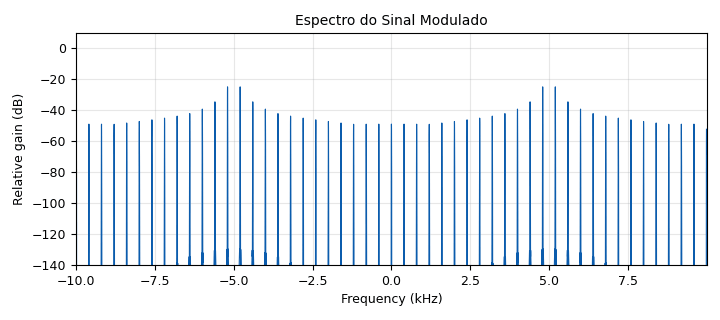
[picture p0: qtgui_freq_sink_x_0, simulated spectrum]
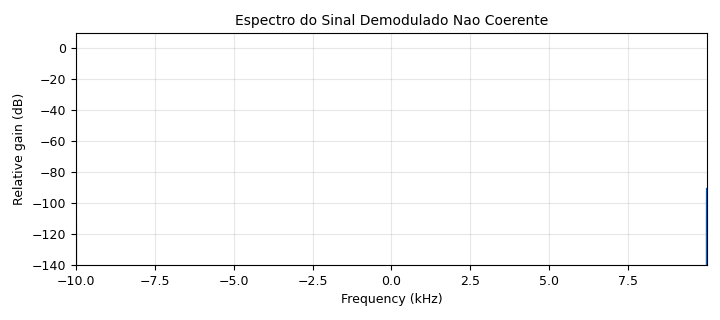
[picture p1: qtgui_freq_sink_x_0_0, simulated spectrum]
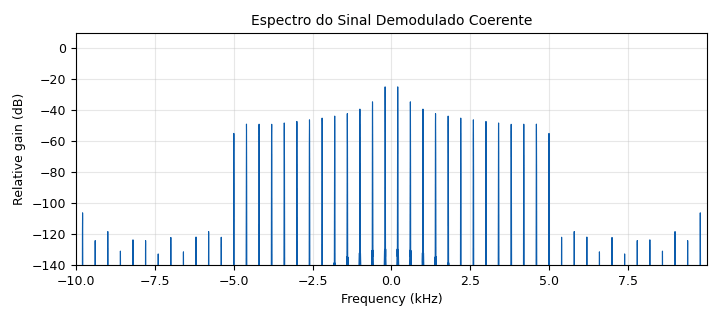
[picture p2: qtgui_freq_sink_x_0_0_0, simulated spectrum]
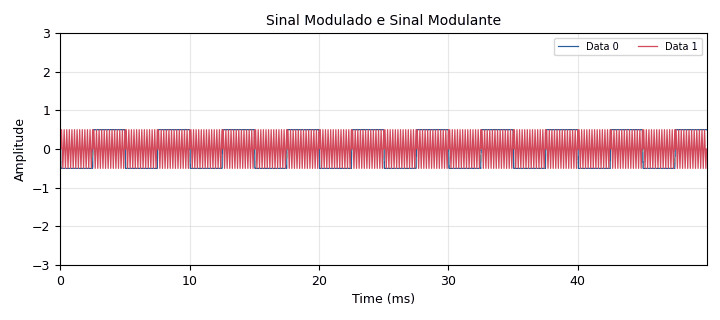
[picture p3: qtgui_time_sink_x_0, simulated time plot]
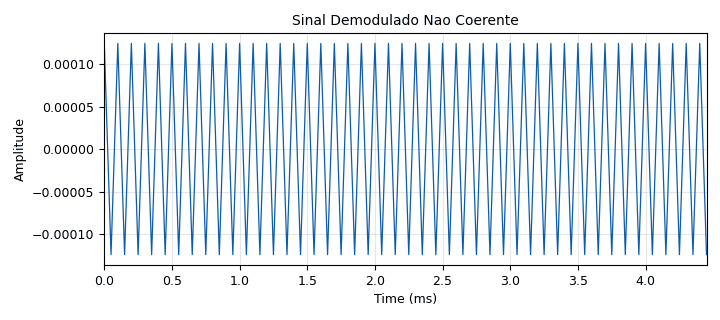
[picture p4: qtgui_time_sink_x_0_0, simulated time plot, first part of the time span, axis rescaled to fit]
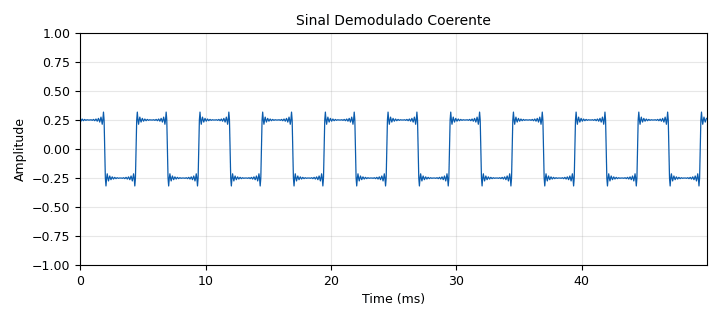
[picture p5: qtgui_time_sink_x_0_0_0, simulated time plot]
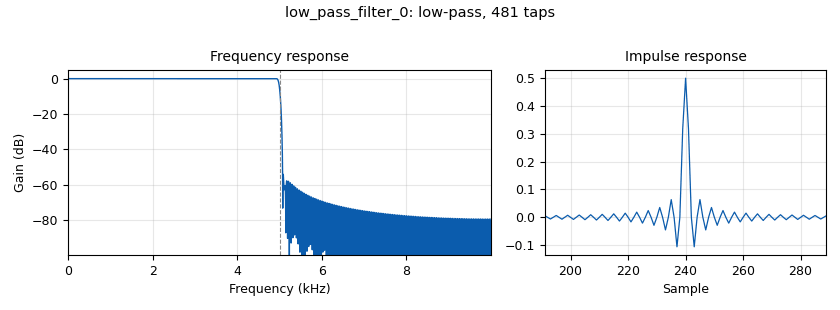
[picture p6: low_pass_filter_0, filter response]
<?xml version='1.0' encoding='utf-8'?>
<flow_graph>
<block>
<key>options</key>
<param><key>id</key><value>Labo3_1d</value></param>
<param><key>title</key><value>AM simulado</value></param>
<param><key>generate_options</key><value>qt_gui</value></param>
<param><key>category</key><value>Custom</value></param>
</block>
<block>
<key>variable</key>
<param><key>id</key><value>samp_rate</value></param>
<param><key>value</key><value>20000</value></param>
</block>
<block>
<key>variable_qtgui_range</key>
<param><key>id</key><value>A</value></param>
<param><key>label</key><value>Portadora</value></param>
<param><key>value</key><value>0</value></param>
<param><key>start</key><value>-3</value></param>
<param><key>stop</key><value>3</value></param>
<param><key>step</key><value>0.1</value></param>
<param><key>orient</key><value>Qt.Horizontal</value></param>
</block>
<block>
<key>analog_const_source_x</key>
<param><key>id</key><value>Amplitude_Portadora</value></param>
<param><key>type</key><value>float</value></param>
<param><key>const</key><value>A</value></param>
</block>
<block>
<key>analog_sig_source_x</key>
<param><key>id</key><value>Portadora</value></param>
<param><key>type</key><value>float</value></param>
<param><key>samp_rate</key><value>samp_rate</value></param>
<param><key>waveform</key><value>analog.GR_COS_WAVE</value></param>
<param><key>freq</key><value>5000</value></param>
<param><key>amp</key><value>1</value></param>
<param><key>offset</key><value>0</value></param>
</block>
<block>
<key>analog_sig_source_x</key>
<param><key>id</key><value>Portadora_0</value></param>
<param><key>type</key><value>float</value></param>
<param><key>samp_rate</key><value>samp_rate</value></param>
<param><key>waveform</key><value>analog.GR_COS_WAVE</value></param>
<param><key>freq</key><value>5000</value></param>
<param><key>amp</key><value>1</value></param>
<param><key>offset</key><value>0</value></param>
</block>
<block>
<key>analog_am_demod_cf</key>
<param><key>id</key><value>analog_am_demod_cf_0</value></param>
<param><key>chan_rate</key><value>samp_rate</value></param>
<param><key>audio_decim</key><value>1</value></param>
<param><key>audio_pass</key><value>5000</value></param>
<param><key>audio_stop</key><value>5500</value></param>
</block>
<block>
<key>blocks_add_xx</key>
<param><key>id</key><value>blocks_add_xx_0</value></param>
<param><key>type</key><value>float</value></param>
</block>
<block>
<key>blocks_delay</key>
<param><key>id</key><value>blocks_delay_0</value></param>
<param><key>type</key><value>float</value></param>
<param><key>delay</key><value>0</value></param>
</block>
<block>
<key>blocks_float_to_complex</key>
<param><key>id</key><value>blocks_float_to_complex_0</value></param>
</block>
<block>
<key>blocks_multiply_xx</key>
<param><key>id</key><value>blocks_multiply_xx_0</value></param>
<param><key>type</key><value>float</value></param>
</block>
<block>
<key>blocks_multiply_xx</key>
<param><key>id</key><value>blocks_multiply_xx_0_0</value></param>
<param><key>type</key><value>float</value></param>
</block>
<block>
<key>blocks_throttle</key>
<param><key>id</key><value>blocks_throttle_0</value></param>
<param><key>type</key><value>float</value></param>
<param><key>samples_per_second</key><value>samp_rate</value></param>
</block>
<block>
<key>dc_blocker_xx</key>
<param><key>id</key><value>dc_blocker_xx_0_0</value></param>
<param><key>type</key><value>ff</value></param>
<param><key>length</key><value>600</value></param>
<param><key>long_form</key><value>True</value></param>
</block>
<block>
<key>dc_blocker_xx</key>
<param><key>id</key><value>dc_blocker_xx_0_0_0</value></param>
<param><key>type</key><value>ff</value></param>
<param><key>length</key><value>600</value></param>
<param><key>long_form</key><value>True</value></param>
</block>
<block>
<key>low_pass_filter</key>
<param><key>id</key><value>low_pass_filter_0</value></param>
<param><key>type</key><value>fir_filter_fff</value></param>
<param><key>decim</key><value>1</value></param>
<param><key>gain</key><value>1</value></param>
<param><key>samp_rate</key><value>samp_rate</value></param>
<param><key>cutoff_freq</key><value>5000</value></param>
<param><key>width</key><value>100</value></param>
<param><key>win</key><value>firdes.WIN_HAMMING</value></param>
</block>
<block>
<key>qtgui_freq_sink_x</key>
<param><key>id</key><value>qtgui_freq_sink_x_0</value></param>
<param><key>type</key><value>float</value></param>
<param><key>name</key><value>Espectro do Sinal Modulado</value></param>
<param><key>fftsize</key><value>2**13</value></param>
<param><key>wintype</key><value>firdes.WIN_BLACKMAN_hARRIS</value></param>
<param><key>fc</key><value>0</value></param>
<param><key>bw</key><value>samp_rate</value></param>
</block>
<block>
<key>qtgui_freq_sink_x</key>
<param><key>id</key><value>qtgui_freq_sink_x_0_0</value></param>
<param><key>type</key><value>float</value></param>
<param><key>name</key><value>Espectro do Sinal Demodulado Nao Coerente</value></param>
<param><key>fftsize</key><value>2**13</value></param>
<param><key>wintype</key><value>firdes.WIN_BLACKMAN_hARRIS</value></param>
<param><key>fc</key><value>0</value></param>
<param><key>bw</key><value>samp_rate</value></param>
</block>
<block>
<key>qtgui_freq_sink_x</key>
<param><key>id</key><value>qtgui_freq_sink_x_0_0_0</value></param>
<param><key>type</key><value>float</value></param>
<param><key>name</key><value>Espectro do Sinal Demodulado Coerente</value></param>
<param><key>fftsize</key><value>2**13</value></param>
<param><key>wintype</key><value>firdes.WIN_BLACKMAN_hARRIS</value></param>
<param><key>fc</key><value>0</value></param>
<param><key>bw</key><value>samp_rate</value></param>
</block>
<block>
<key>qtgui_time_sink_x</key>
<param><key>id</key><value>qtgui_time_sink_x_0</value></param>
<param><key>type</key><value>float</value></param>
<param><key>name</key><value>Sinal Modulado e Sinal Modulante</value></param>
<param><key>size</key><value>1000</value></param>
<param><key>srate</key><value>samp_rate</value></param>
<param><key>ymin</key><value>-3</value></param>
<param><key>ymax</key><value>3</value></param>
<param><key>nconnections</key><value>2</value></param>
<param><key>tr_level</key><value>1</value></param>
</block>
<block>
<key>qtgui_time_sink_x</key>
<param><key>id</key><value>qtgui_time_sink_x_0_0</value></param>
<param><key>type</key><value>float</value></param>
<param><key>name</key><value>Sinal Demodulado Nao Coerente</value></param>
<param><key>size</key><value>1000</value></param>
<param><key>srate</key><value>samp_rate</value></param>
<param><key>tr_level</key><value>1</value></param>
</block>
<block>
<key>qtgui_time_sink_x</key>
<param><key>id</key><value>qtgui_time_sink_x_0_0_0</value></param>
<param><key>type</key><value>float</value></param>
<param><key>name</key><value>Sinal Demodulado Coerente</value></param>
<param><key>size</key><value>1000</value></param>
<param><key>srate</key><value>samp_rate</value></param>
<param><key>tr_level</key><value>1</value></param>
</block>
<block>
<key>analog_sig_source_x</key>
<param><key>id</key><value>Sinal_Modulante</value></param>
<param><key>type</key><value>float</value></param>
<param><key>samp_rate</key><value>samp_rate</value></param>
<param><key>waveform</key><value>analog.GR_SQR_WAVE</value></param>
<param><key>freq</key><value>200</value></param>
<param><key>amp</key><value>1</value></param>
<param><key>offset</key><value>-0.5</value></param>
</block>
<connection><source_block_id>Amplitude_Portadora</source_block_id><sink_block_id>blocks_add_xx_0</sink_block_id><source_key>0</source_key><sink_key>1</sink_key></connection>
<connection><source_block_id>Portadora</source_block_id><sink_block_id>blocks_throttle_0</sink_block_id><source_key>0</source_key><sink_key>0</sink_key></connection>
<connection><source_block_id>Portadora_0</source_block_id><sink_block_id>blocks_delay_0</sink_block_id><source_key>0</source_key><sink_key>0</sink_key></connection>
<connection><source_block_id>Sinal_Modulante</source_block_id><sink_block_id>blocks_add_xx_0</sink_block_id><source_key>0</source_key><sink_key>0</sink_key></connection>
<connection><source_block_id>Sinal_Modulante</source_block_id><sink_block_id>qtgui_time_sink_x_0</sink_block_id><source_key>0</source_key><sink_key>0</sink_key></connection>
<connection><source_block_id>analog_am_demod_cf_0</source_block_id><sink_block_id>dc_blocker_xx_0_0</sink_block_id><source_key>0</source_key><sink_key>0</sink_key></connection>
<connection><source_block_id>blocks_add_xx_0</source_block_id><sink_block_id>blocks_multiply_xx_0</sink_block_id><source_key>0</source_key><sink_key>0</sink_key></connection>
<connection><source_block_id>blocks_delay_0</source_block_id><sink_block_id>blocks_multiply_xx_0_0</sink_block_id><source_key>0</source_key><sink_key>1</sink_key></connection>
<connection><source_block_id>blocks_float_to_complex_0</source_block_id><sink_block_id>analog_am_demod_cf_0</sink_block_id><source_key>0</source_key><sink_key>0</sink_key></connection>
<connection><source_block_id>blocks_multiply_xx_0</source_block_id><sink_block_id>blocks_float_to_complex_0</sink_block_id><source_key>0</source_key><sink_key>0</sink_key></connection>
<connection><source_block_id>blocks_multiply_xx_0</source_block_id><sink_block_id>blocks_multiply_xx_0_0</sink_block_id><source_key>0</source_key><sink_key>0</sink_key></connection>
<connection><source_block_id>blocks_multiply_xx_0</source_block_id><sink_block_id>qtgui_freq_sink_x_0</sink_block_id><source_key>0</source_key><sink_key>0</sink_key></connection>
<connection><source_block_id>blocks_multiply_xx_0</source_block_id><sink_block_id>qtgui_time_sink_x_0</sink_block_id><source_key>0</source_key><sink_key>1</sink_key></connection>
<connection><source_block_id>blocks_multiply_xx_0_0</source_block_id><sink_block_id>low_pass_filter_0</sink_block_id><source_key>0</source_key><sink_key>0</sink_key></connection>
<connection><source_block_id>blocks_throttle_0</source_block_id><sink_block_id>blocks_multiply_xx_0</sink_block_id><source_key>0</source_key><sink_key>1</sink_key></connection>
<connection><source_block_id>dc_blocker_xx_0_0</source_block_id><sink_block_id>qtgui_freq_sink_x_0_0</sink_block_id><source_key>0</source_key><sink_key>0</sink_key></connection>
<connection><source_block_id>dc_blocker_xx_0_0</source_block_id><sink_block_id>qtgui_time_sink_x_0_0</sink_block_id><source_key>0</source_key><sink_key>0</sink_key></connection>
<connection><source_block_id>dc_blocker_xx_0_0_0</source_block_id><sink_block_id>qtgui_freq_sink_x_0_0_0</sink_block_id><source_key>0</source_key><sink_key>0</sink_key></connection>
<connection><source_block_id>dc_blocker_xx_0_0_0</source_block_id><sink_block_id>qtgui_time_sink_x_0_0_0</sink_block_id><source_key>0</source_key><sink_key>0</sink_key></connection>
<connection><source_block_id>low_pass_filter_0</source_block_id><sink_block_id>dc_blocker_xx_0_0_0</sink_block_id><source_key>0</source_key><sink_key>0</sink_key></connection>
</flow_graph>
